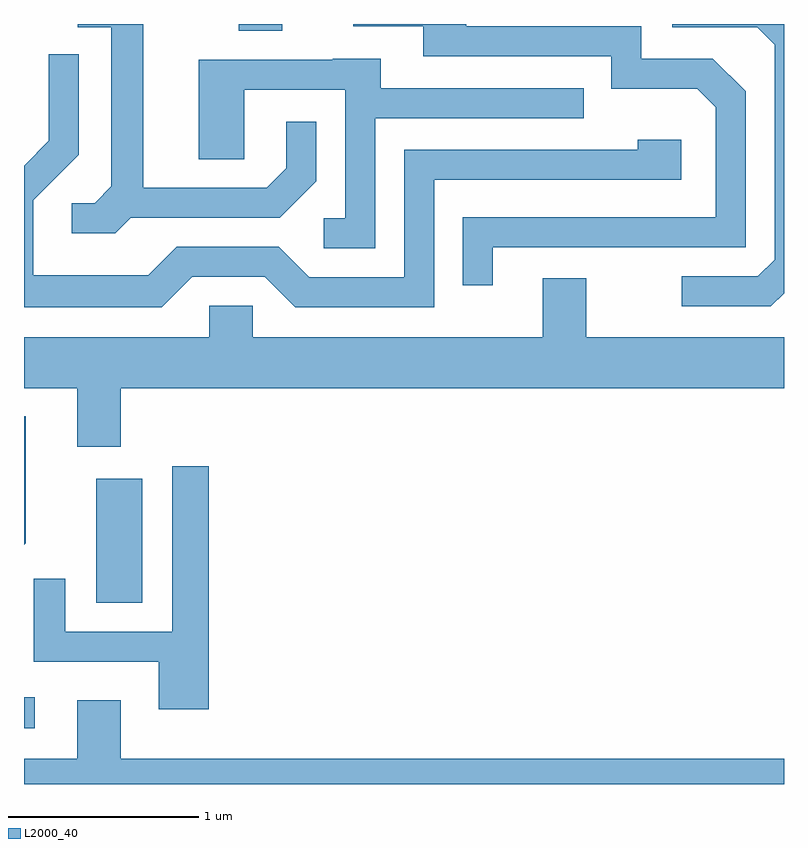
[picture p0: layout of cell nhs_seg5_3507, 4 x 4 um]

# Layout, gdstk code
import gdstk
lib = gdstk.Library(unit=1e-6, precision=1e-09)
def R(c, l, rs):  # rectangles x0, y0, x1, y1
    for r in rs: c.add(gdstk.rectangle(r[:2], r[2:], *l))
def P(c, l, *ps):  # polygons
    for p in ps: c.add(gdstk.Polygon(p, *l))
L2000_40 = (2000, 40)

nhs_seg5_3507 = lib.new_cell('nhs_seg5_3507')
R(nhs_seg5_3507, L2000_40, [(289.611,1428.366,289.668,1428.529), (289.991,1429.026,290.234,1429.679), (290.741,1432.036,290.969,1432.072)])
P(nhs_seg5_3507, L2000_40, [(292.079,1430.896),(293.409,1430.896),(293.409,1431.717),(293.237,1431.889),(292.859,1431.889),(292.859,1432.059),(291.939,1432.059),(291.939,1432.072),(291.343,1432.072),(291.343,1432.061),(291.711,1432.061),(291.711,1431.901),(292.701,1431.901),(292.701,1431.731),(293.154,1431.731),(293.251,1431.634),(293.251,1431.054),(291.921,1431.054),(291.921,1430.698),(292.079,1430.698)],
  [(290.172,1431.051),(290.957,1431.051),(291.149,1431.244),(291.149,1431.558),(290.991,1431.558),(290.991,1431.312),(290.889,1431.209),(290.239,1431.209),(290.239,1432.072),(289.893,1432.072),(289.893,1432.056),(290.071,1432.056),(290.071,1431.217),(289.984,1431.129),(289.863,1431.129),(289.863,1430.971),(290.092,1430.971)],
  [(293.611,1430.655),(293.611,1432.072),(293.023,1432.072),(293.023,1432.056),(293.469,1432.056),(293.561,1431.964),(293.561,1430.832),(293.474,1430.744),(293.073,1430.744),(293.073,1430.586),(293.542,1430.586)],
  [(290.497,1430.741),(290.879,1430.741),(291.039,1430.581),(291.769,1430.581),(291.769,1431.251),(293.069,1431.251),(293.069,1431.464),(292.841,1431.464),(292.841,1431.409),(291.611,1431.409),(291.611,1430.739),(291.112,1430.739),(290.952,1430.899),(290.414,1430.899),(290.264,1430.749),(289.659,1430.749),(289.659,1431.144),(289.899,1431.384),(289.899,1431.913),(289.741,1431.913),(289.741,1431.457),(289.611,1431.327),(289.611,1430.581),(290.337,1430.581)],
  [(291.459,1431.576),(292.558,1431.576),(292.558,1431.734),(291.489,1431.734),(291.489,1431.889),(291.235,1431.889),(291.235,1431.884),(290.531,1431.884),(290.531,1431.361),(290.769,1431.361),(290.769,1431.726),(291.301,1431.726),(291.301,1431.049),(291.188,1431.049),(291.188,1430.891),(291.459,1430.891)],
  [(290.119,1430.156),(293.611,1430.156),(293.611,1430.424),(292.569,1430.424),(292.569,1430.734),(292.341,1430.734),(292.341,1430.424),(290.814,1430.424),(290.814,1430.589),(290.586,1430.589),(290.586,1430.424),(289.611,1430.424),(289.611,1430.156),(289.891,1430.156),(289.891,1429.846),(290.119,1429.846)],
  [(289.619,1429.339),(289.619,1430.008),(289.611,1430.008),(289.611,1429.331)],
  [(290.584,1429.744),(290.391,1429.744),(290.391,1428.874),(289.829,1428.874),(289.829,1429.153),(289.661,1429.153),(289.661,1428.716),(290.321,1428.716),(290.321,1428.466),(290.584,1428.466)],
  [(293.611,1428.204),(290.119,1428.204),(290.119,1428.514),(289.891,1428.514),(289.891,1428.204),(289.611,1428.204),(289.611,1428.072),(293.611,1428.072)])

lib.write_gds('nhs_seg5_3507.gds')
